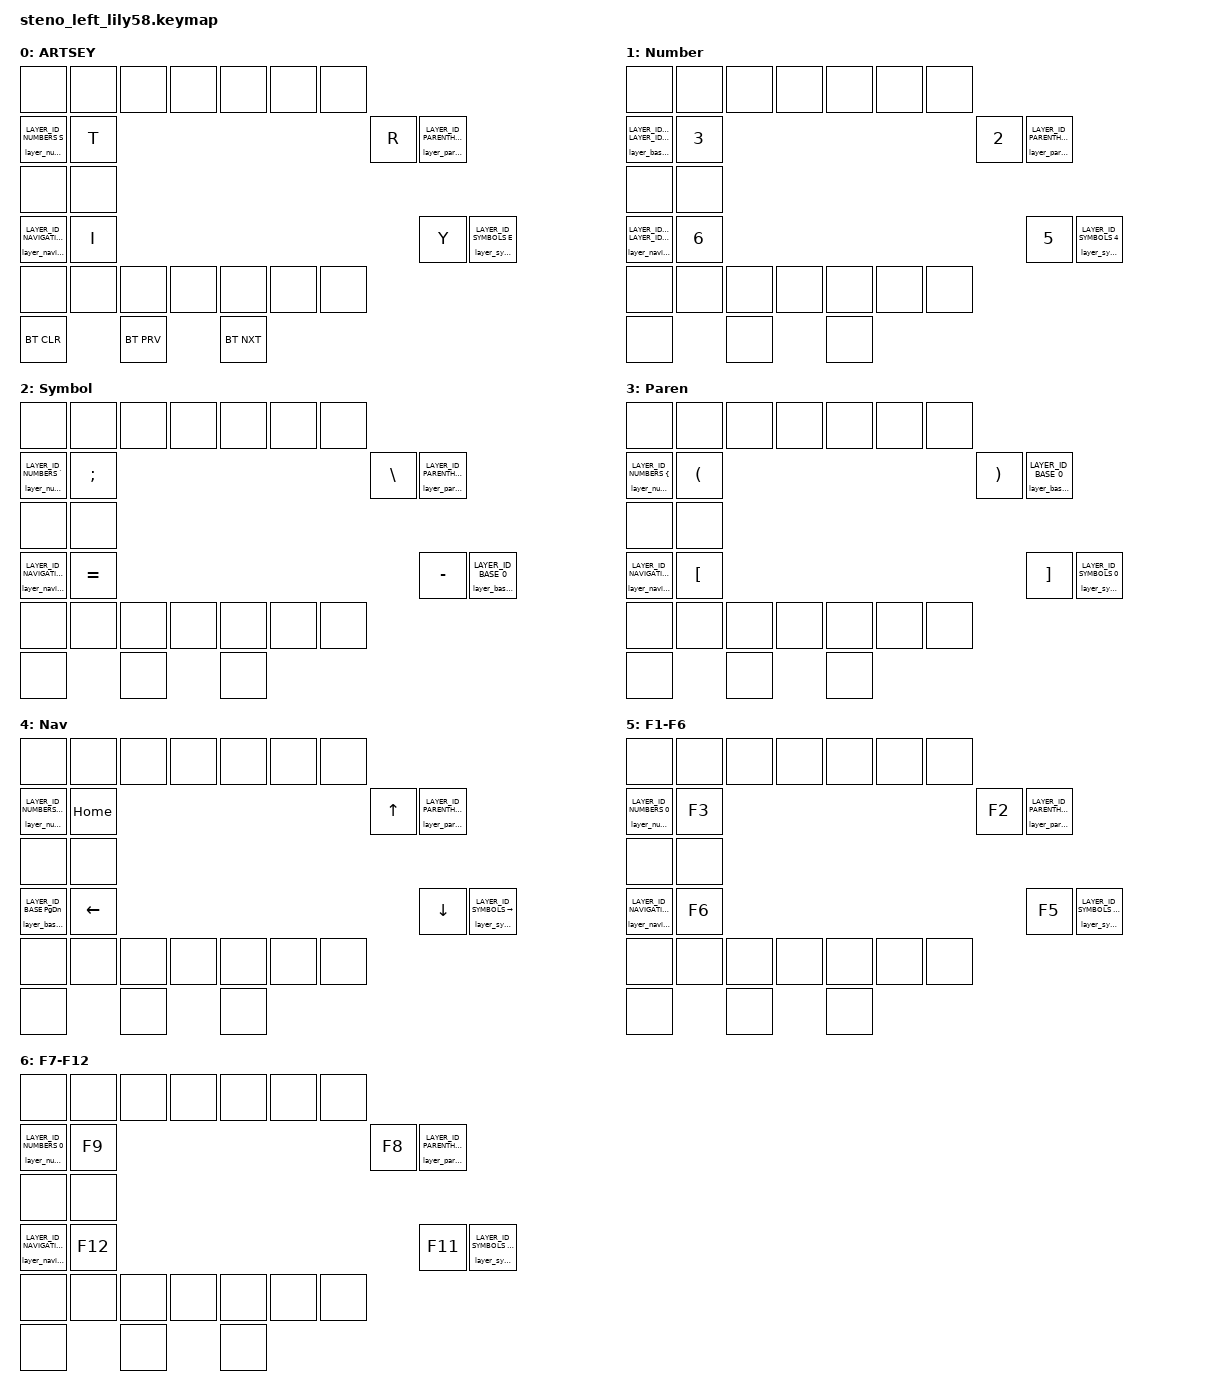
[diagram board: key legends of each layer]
/*
 * Copyright (c) 2020 The ZMK Contributors
 *
 * SPDX-License-Identifier: MIT
 */

#include <behaviors.dtsi>
#include <dt-bindings/zmk/keys.h>
#include <dt-bindings/zmk/bt.h>

// ARTS Row
#define KEY_A 10
#define KEY_R 9
#define KEY_T 8
#define KEY_S 7
// EYIO Row
#define KEY_E 16
#define KEY_Y 15
#define KEY_I 14
#define KEY_O 13

#include "../../../artsey.dtsi"

/ {
	keymap {
		compatible = "zmk,keymap";
		base {
			label = "ARTSEY";
			bindings = <
				&none &none &none &none &none &none &none
				&layer_numbers_kp LAYER_ID_NUMBERS S &kp T &kp R &layer_parentheticals_kp LAYER_ID_PARENTHETICALS A
				&none &none
				&layer_navigation_kp LAYER_ID_NAVIGATION O &kp I &kp Y &layer_symbols_kp LAYER_ID_SYMBOLS E
				&none &none &none &none &none &none &none
				&bt BT_CLR &bt BT_PRV &bt BT_NXT
			>;
		};
		numbers {
			label = "Number";
			bindings = <
				&none &none &none &none &none &none &none
				&layer_base_sl LAYER_ID_BASE LAYER_ID_F_ONE_SIX &kp N3 &kp N2 &layer_parentheticals_kp LAYER_ID_PARENTHETICALS N1
				&none &none
				&layer_navigation_sl LAYER_ID_NAVIGATION LAYER_ID_F_SEVEN_TWELVE &kp N6 &kp N5 &layer_symbols_kp LAYER_ID_SYMBOLS N4
				&none &none &none &none &none &none &none &none &none &none
			>;
		};
		symbols {
			label = "Symbol";
			bindings = <
				&none &none &none &none &none &none &none
				&layer_numbers_kp LAYER_ID_NUMBERS GRAVE &kp SEMI &kp BSLH &layer_parentheticals_none LAYER_ID_PARENTHETICALS 0
				&none &none
				&layer_navigation_none LAYER_ID_NAVIGATION 0 &kp EQUAL &kp MINUS &layer_base_none LAYER_ID_BASE 0
				&none &none &none &none &none &none &none &none &none &none
			>;
		};
		parentheticals {
			label = "Paren";
			bindings = <
				&none &none &none &none &none &none &none
				&layer_numbers_kp LAYER_ID_NUMBERS LBRC &kp LPAR &kp RPAR &layer_base_none LAYER_ID_BASE 0
				&none &none
				&layer_navigation_kp LAYER_ID_NAVIGATION RBRC &kp LBKT &kp RBKT &layer_symbols_none LAYER_ID_SYMBOLS 0
				&none &none &none &none &none &none &none &none &none &none
			>;
		};
		navigation {
			label = "Nav";
			bindings = <
				&none &none &none &none &none &none &none
				&layer_numbers_kp LAYER_ID_NUMBERS PG_UP &kp HOME &kp UP &layer_parentheticals_kp LAYER_ID_PARENTHETICALS END
				&none &none
				&layer_base_kp LAYER_ID_BASE PG_DN &kp LEFT  &kp DOWN &layer_symbols_kp LAYER_ID_SYMBOLS RIGHT
				&none &none &none &none &none &none &none &none &none &none
			>;
		};
		f_one_to_six{
			label = "F1-F6";
			bindings = <
				&none &none &none &none &none &none &none
				&layer_numbers_none LAYER_ID_NUMBERS 0 &kp F3 &kp F2 &layer_parentheticals_kp LAYER_ID_PARENTHETICALS F1
				&none &none
				&layer_navigation_none LAYER_ID_NAVIGATION 0 &kp F6 &kp F5 &layer_symbols_kp LAYER_ID_SYMBOLS F4
				&none &none &none &none &none &none &none &none &none &none
			>;
		};
		f_seven_to_twelve {
			label = "F7-F12";
			bindings = <
				&none &none &none &none &none &none &none
				&layer_numbers_none LAYER_ID_NUMBERS 0 &kp F9 &kp F8 &layer_parentheticals_kp LAYER_ID_PARENTHETICALS F7
				&none &none
				&layer_navigation_none LAYER_ID_NAVIGATION 0 &kp F12 &kp F11 &layer_symbols_kp LAYER_ID_SYMBOLS F10
				&none &none &none &none &none &none &none &none &none &none
			>;
		};
	};
};
